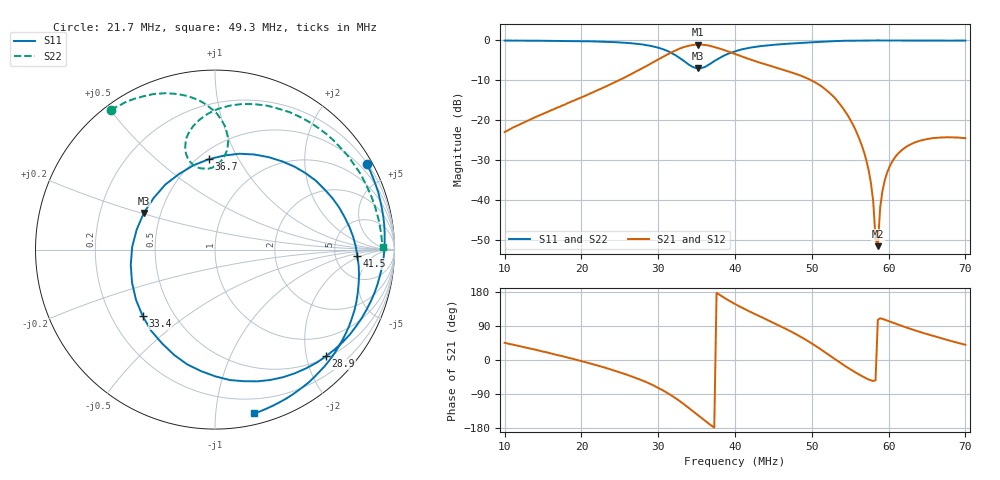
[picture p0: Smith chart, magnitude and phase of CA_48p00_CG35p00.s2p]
#  HZ  S  RI  R  50.00
! Rohde & Schwarz ZVT8 8Ports - Version 4.11 - 1300.0000k08 SN: 100242
! Date: 2026-07-31 15:09:17
! Measurements: S11 S21 S12 S22
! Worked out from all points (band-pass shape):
!   201 points, 10 MHz to 70 MHz, reference 50 ohm
!   highest |S21| = -1.05 dB at 35.2 MHz (marker M1); lowest = -51.5 dB at 58.6 MHz (marker M2)
!   |S21| within 3 dB of the highest: 30.69 MHz to 40.92 MHz (10.23 MHz wide, 28.6 % of centre)
!   lowest |S11| = -7.0 dB at 35.2 MHz (marker M3), VSWR 2.61, Z = 20.1 + j10.2 ohm
!   |S11| at or under -10 dB: nowhere
!   |S22| runs from -6.9 to 0.0 dB; largest |S21 - S12| = 0.0035
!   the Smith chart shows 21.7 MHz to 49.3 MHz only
!   S11 on the Smith chart (normalised r, x): 21.7 MHz: 0.23, +3.80; 28.9 MHz: 0.53, -2.38; 33.4 MHz: 0.33, -0.35; 36.7 MHz: 0.56, +0.76; 41.5 MHz: 8.40, -1.60; 49.3 MHz: 0.08, -1.26
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1e7  -0.4064 0.9097  0.0502 0.0509  0.05 0.0512  -0.9203 0.3819
1.51e7  0.1898 0.9703  0.1131 0.045  0.1129 0.0451  -0.8096 0.5676
2.02e7  0.7327 0.6446  0.1972 -0.0134  0.1965 -0.0134  -0.6442 0.7335
2.17e7  0.8452 0.4765  0.2234 -0.0482  0.2232 -0.0474  -0.5806 0.7785
2.56e7  0.9319 -0.0914  0.2756 -0.2028  0.2763 -0.2027  -0.3696 0.8603
2.89e7  0.6185 -0.5938  0.2314 -0.4479  0.2312 -0.4473  -0.1359 0.8498
3.01e7  0.3806 -0.7105  0.156 -0.5631  0.1572 -0.563  -0.047 0.8066
3.34e7  -0.4026 -0.3709  -0.3812 -0.7358  -0.3793 -0.7346  0.0655 0.5499
3.52e7  -0.3968 0.204  -0.7367 -0.4928  -0.7365 -0.4944  -0.039 0.4505
3.67e7  -0.0352 0.5033  -0.8429 -0.1537  -0.8407 -0.1532  -0.1398 0.4908
4e7  0.6911 0.2354  -0.5715 0.36  -0.5709 0.3604  -0.0808 0.7276
4.15e7  0.7931 -0.0352  -0.4019 0.446  -0.4016 0.4425  0.051 0.7934
4.57e7  0.6105 -0.65  -0.0112 0.4453  -0.0127 0.4448  0.5776 0.6764
4.93e7  0.2185 -0.9128  0.2069 0.2685  0.2069 0.2689  0.9334 0.0132
5.02e7  0.1092 -0.9427  0.232 0.202  0.2318 0.2027  0.9119 -0.2434
5.32e7  -0.2719 -0.9429  0.1809 -0.000886  0.1808 -0.000924  0.2517 -0.9436
5.62e7  -0.6166 -0.781  0.0455 -0.0367  0.0455 -0.0366  -0.6468 -0.7514
5.77e7  -0.7509 -0.6551  0.00976 -0.0132  0.00974 -0.0132  -0.8795 -0.4606
5.86e7  -0.82 -0.5692  -0.000726 0.00257  -0.000713 0.00254  -0.953 -0.2848
5.92e7  -0.8585 -0.5071  -0.00419 0.0124  -0.00412 0.0124  -0.9796 -0.1721
6.01e7  -0.9059 -0.4123  -0.00545 0.0254  -0.00546 0.0254  -0.994 -0.0163
7e7  -0.7456 0.6585  0.0458 0.0386  0.0457 0.0385  -0.5204 0.8477
